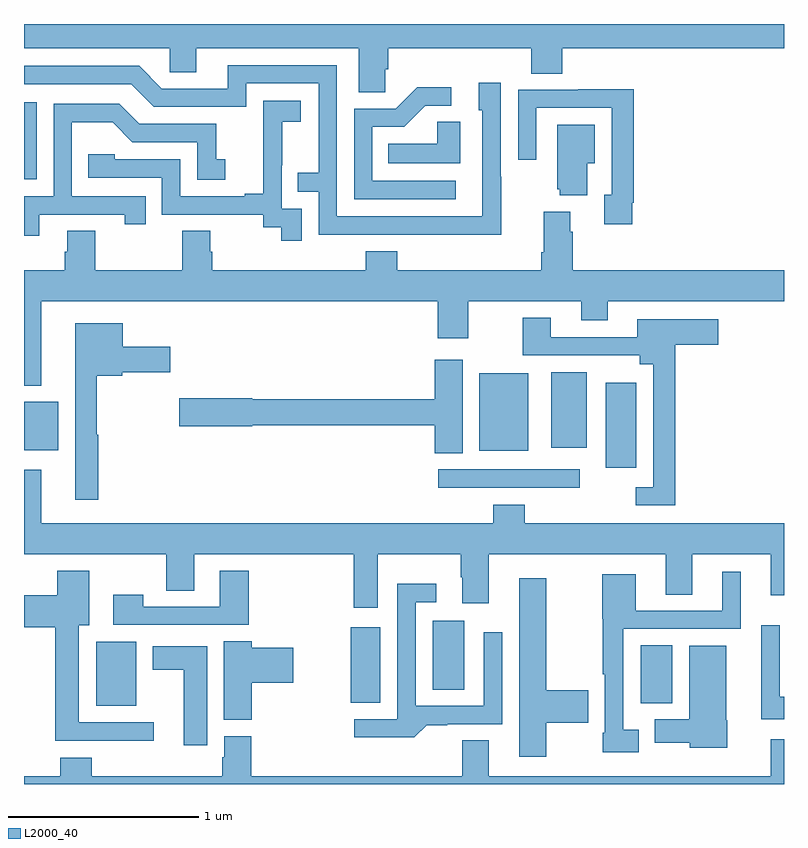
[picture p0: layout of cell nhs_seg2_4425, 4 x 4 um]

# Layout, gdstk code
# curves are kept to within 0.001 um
import gdstk
lib = gdstk.Library(unit=1e-6, precision=1e-09)
def R(c, l, rs):  # rectangles x0, y0, x1, y1
    for r in rs: c.add(gdstk.rectangle(r[:2], r[2:], *l))
def P(c, l, *ps):  # polygons
    for p in ps: c.add(gdstk.Polygon(p, *l))
L2000_40 = (2000, 40)

nhs_seg2_4425 = lib.new_cell('nhs_seg2_4425')
R(nhs_seg2_4425, L2000_40, [(351.38,608.213,351.592,608.548), (354.245,608.225,354.412,608.531), (352.72,608.227,352.876,608.626), (353.15,608.296,353.317,608.659), (353.181,609.36,353.926,609.456), (354.062,609.465,354.223,609.913), (353.396,609.554,353.653,609.961), (351,609.557,351.181,609.811), (353.774,609.569,353.962,609.967), (351,610.983,351.066,611.389)])
P(nhs_seg2_4425, L2000_40, [(352.902,611.563),(352.916,611.563),(352.916,611.672),(353.669,611.672),(353.669,611.539),(353.834,611.539),(353.834,611.672),(355,611.672),(355,611.8),(351,611.8),(351,611.672),(351.768,611.672),(351.768,611.545),(351.907,611.545),(351.907,611.672),(352.763,611.672),(352.763,611.44),(352.902,611.44)],
  [(353.511,610.997),(353.508,610.997),(353.508,611.491),(353.393,611.491),(353.393,611.346),(353.412,611.346),(353.412,610.788),(352.647,610.788),(352.647,611.583),(352.073,611.583),(352.073,611.46),(351.726,611.46),(351.606,611.58),(351,611.58),(351,611.484),(351.564,611.484),(351.684,611.364),(352.17,611.364),(352.17,611.487),(352.551,611.487),(352.551,611.018),(352.441,611.018),(352.441,610.917),(352.551,610.917),(352.551,610.692),(353.511,610.691)],
  [(353.272,610.974),(352.833,610.974),(352.833,611.259),(353.002,611.259),(353.113,611.37),(353.248,611.37),(353.248,611.468),(353.069,611.468),(352.956,611.355),(352.737,611.355),(352.737,610.878),(353.272,610.878)],
  [(354.202,610.858),(354.209,610.858),(354.209,611.456),(353.917,611.456),(353.917,611.454),(353.601,611.454),(353.601,611.085),(353.697,611.085),(353.697,611.358),(354.093,611.358),(354.093,610.902),(354.053,610.902),(354.053,610.746),(354.202,610.746)],
  [(352.461,610.827),(352.356,610.827),(352.356,611.057),(352.358,611.057),(352.358,611.285),(352.456,611.285),(352.456,611.395),(352.258,611.395),(352.258,611.189),(352.259,611.189),(352.259,610.906),(352.163,610.906),(352.163,610.893),(351.822,610.893),(351.822,611.088),(351.477,611.088),(351.477,611.115),(351.337,611.115),(351.337,610.992),(351.726,610.992),(351.726,610.797),(352.26,610.797),(352.26,610.729),(352.353,610.729),(352.353,610.659),(352.461,610.659)],
  [(351.079,610.797),(351.53,610.797),(351.53,610.746),(351.641,610.746),(351.641,610.893),(351.252,610.893),(351.252,611.282),(351.466,611.282),(351.57,611.178),(351.912,611.178),(351.912,610.98),(352.06,610.98),(352.06,611.089),(352.011,611.089),(352.011,611.274),(351.607,611.274),(351.502,611.379),(351.156,611.379),(351.156,610.893),(351,610.893),(351,610.686),(351.079,610.686)],
  [(353.296,611.285),(353.175,611.285),(353.175,611.17),(352.918,611.17),(352.918,611.066),(353.296,611.066)],
  [(353.965,611.066),(354.004,611.066),(354.004,611.269),(353.807,611.269),(353.807,610.929),(353.819,610.929),(353.819,610.898),(353.965,610.898)],
  [(351.091,610.34),(353.177,610.34),(353.177,610.146),(353.337,610.146),(353.337,610.34),(353.933,610.34),(353.933,610.241),(354.073,610.241),(354.073,610.34),(355,610.34),(355,610.504),(353.888,610.504),(353.888,610.706),(353.875,610.706),(353.875,610.813),(353.735,610.813),(353.735,610.6),(353.723,610.6),(353.723,610.504),(352.964,610.504),(352.964,610.603),(352.799,610.603),(352.799,610.504),(351.992,610.504),(351.992,610.602),(351.979,610.602),(351.979,610.712),(351.832,610.712),(351.832,610.504),(351.375,610.504),(351.375,610.712),(351.227,610.712),(351.227,610.602),(351.215,610.602),(351.215,610.504),(351,610.504),(351,609.896),(351.091,609.896)],
  [(354.428,610.112),(354.655,610.112),(354.655,610.246),(354.227,610.246),(354.227,610.152),(353.773,610.152),(353.773,610.255),(353.626,610.255),(353.626,610.056),(354.242,610.056),(354.242,610.01),(354.312,610.01),(354.312,609.363),(354.219,609.363),(354.219,609.267),(354.428,609.267)],
  [(351.391,609.638),(351.383,609.638),(351.383,609.95),(351.516,609.95),(351.516,609.968),(351.769,609.968),(351.769,610.102),(351.52,610.102),(351.52,610.225),(351.269,610.225),(351.269,609.297),(351.391,609.297)],
  [(353.308,610.033),(353.162,610.033),(353.162,609.824),(352.2,609.824),(352.2,609.83),(351.816,609.83),(351.816,609.683),(352.2,609.683),(352.2,609.688),(353.162,609.688),(353.162,609.541),(353.308,609.541)],
  [(352.861,609.008),(353.299,609.008),(353.299,608.888),(353.306,608.888),(353.306,608.751),(353.446,608.751),(353.446,609.008),(354.377,609.008),(354.377,608.797),(354.517,608.797),(354.517,609.008),(354.929,609.008),(354.929,608.793),(355,608.793),(355,609.172),(353.636,609.172),(353.636,609.271),(353.471,609.271),(353.471,609.172),(351.091,609.172),(351.091,609.454),(351,609.454),(351,609.008),(351.748,609.008),(351.748,608.818),(351.895,608.818),(351.895,609.008),(352.736,609.008),(352.736,608.727),(352.861,608.727)],
  [(352.184,608.923),(352.031,608.923),(352.031,608.733),(351.627,608.733),(351.627,608.797),(351.471,608.797),(351.471,608.637),(352.184,608.637)],
  [(351.682,608.124),(351.289,608.124),(351.289,608.636),(351.343,608.636),(351.343,608.923),(351.176,608.923),(351.176,608.794),(351,608.794),(351,608.624),(351.164,608.624),(351.164,608.027),(351.682,608.027)],
  [(354.236,608.086),(354.153,608.086),(354.153,608.616),(354.772,608.616),(354.772,608.917),(354.674,608.917),(354.674,608.712),(354.22,608.712),(354.22,608.905),(354.044,608.905),(354.044,608.669),(354.045,608.669),(354.045,608.377),(354.057,608.377),(354.057,608.071),(354.045,608.071),(354.045,607.967),(354.236,607.967)],
  [(353.748,608.123),(353.971,608.123),(353.971,608.294),(353.748,608.294),(353.748,608.884),(353.606,608.884),(353.606,607.944),(353.748,607.944)],
  [(353.119,608.11),(353.227,608.11),(353.227,608.115),(353.517,608.115),(353.517,608.599),(353.421,608.599),(353.421,608.211),(353.061,608.211),(353.061,608.757),(353.17,608.757),(353.17,608.854),(352.965,608.854),(352.965,608.142),(352.737,608.142),(352.737,608.045),(353.054,608.045)],
  [(355,608.258),(354.978,608.258),(354.978,608.635),(354.881,608.635),(354.881,608.142),(355,608.142)],
  [(352.199,608.333),(352.417,608.333),(352.417,608.516),(352.199,608.516),(352.199,608.552),(352.052,608.552),(352.052,608.137),(352.199,608.137)],
  [(354.7,608.136),(354.697,608.136),(354.697,608.527),(354.5,608.527),(354.5,608.14),(354.321,608.14),(354.321,608.018),(354.504,608.018),(354.504,607.991),(354.7,607.991)],
  [(351.964,608.524),(351.677,608.524),(351.677,608.402),(351.842,608.402),(351.842,608.004),(351.964,608.004)],
  [(355,608.035),(354.929,608.035),(354.929,607.84),(353.446,607.84),(353.446,608.03),(353.306,608.03),(353.306,607.84),(352.196,607.84),(352.196,608.052),(352.055,608.052),(352.055,607.941),(352.043,607.941),(352.043,607.84),(351.356,607.84),(351.356,607.939),(351.191,607.939),(351.191,607.84),(351,607.84),(351,607.8),(355,607.8)])

lib.write_gds('nhs_seg2_4425.gds')
